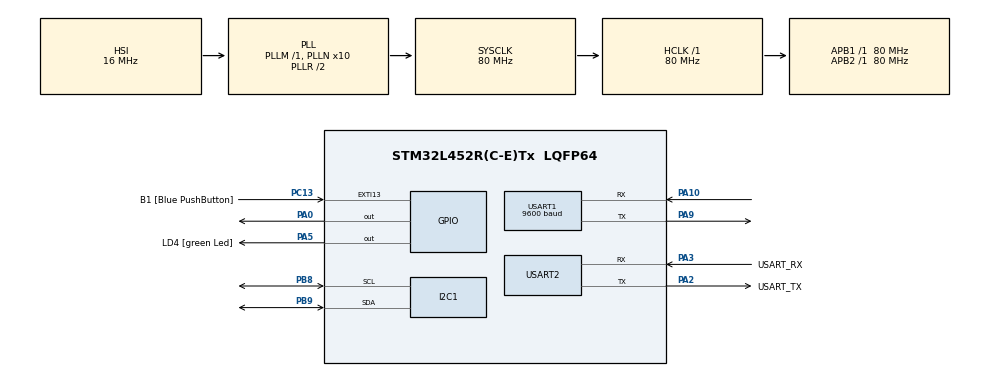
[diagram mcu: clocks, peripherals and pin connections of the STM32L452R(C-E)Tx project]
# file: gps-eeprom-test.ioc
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I2C1.Timing=0x10909CEC
Mcu.Family=STM32L4
Mcu.Name=STM32L452R(C-E)Tx
Mcu.Package=LQFP64
NVIC.PriorityGroup=NVIC_PRIORITYGROUP_4
NVIC.USART1_IRQn=true\:0\:0\:false\:false\:true\:true\:true\:true
NVIC.USART2_IRQn=true\:0\:0\:false\:false\:true\:true\:true\:true
PA0.Signal=GPIO_Output
PA10.Mode=Asynchronous
PA10.Signal=USART1_RX
PA13\ (JTMS/SWDIO).GPIO_Label=TMS
PA13\ (JTMS/SWDIO).Mode=Serial_Wire
PA13\ (JTMS/SWDIO).Signal=SYS_JTMS-SWDIO
PA14\ (JTCK/SWCLK).GPIO_Label=TCK
PA14\ (JTCK/SWCLK).Mode=Serial_Wire
PA14\ (JTCK/SWCLK).Signal=SYS_JTCK-SWCLK
PA2.GPIO_Label=USART_TX
PA2.GPIO_Mode=GPIO_MODE_AF_PP
PA2.GPIO_PuPd=GPIO_NOPULL
PA2.GPIO_Speed=GPIO_SPEED_FREQ_VERY_HIGH
PA2.Mode=Asynchronous
PA2.Signal=USART2_TX
PA3.GPIO_Label=USART_RX
PA3.GPIO_Mode=GPIO_MODE_AF_PP
PA3.GPIO_PuPd=GPIO_NOPULL
PA3.GPIO_Speed=GPIO_SPEED_FREQ_VERY_HIGH
PA3.Mode=Asynchronous
PA3.Signal=USART2_RX
PA5.GPIO_Label=LD4 [green Led]
PA5.GPIO_ModeDefaultOutputPP=GPIO_MODE_OUTPUT_PP
PA5.GPIO_PuPd=GPIO_NOPULL
PA5.GPIO_Speed=GPIO_SPEED_FREQ_LOW
PA5.Signal=GPIO_Output
PA9.Mode=Asynchronous
PA9.Signal=USART1_TX
PB3\ (JTDO/TRACESWO).GPIO_Label=SWO
PB3\ (JTDO/TRACESWO).Signal=SYS_JTDO-SWO
PB8.Mode=I2C
PB8.Signal=I2C1_SCL
PB9.Mode=I2C
PB9.Signal=I2C1_SDA
PC13.GPIO_Label=B1 [Blue PushButton]
PC13.GPIO_ModeDefaultEXTI=GPIO_MODE_IT_FALLING
PC13.GPIO_PuPd=GPIO_NOPULL
PC13.Signal=GPXTI13
PC14-OSC32_IN\ (PC14).Mode=LSE-External-Oscillator
PC14-OSC32_IN\ (PC14).Signal=RCC_OSC32_IN
PC15-OSC32_OUT\ (PC15).Mode=LSE-External-Oscillator
PC15-OSC32_OUT\ (PC15).Signal=RCC_OSC32_OUT
PH0-OSC_IN\ (PH0).Signal=RCC_OSC_IN
PH1-OSC_OUT\ (PH1).Signal=RCC_OSC_OUT
ProjectManager.HeapSize=0x200
ProjectManager.StackSize=0x400
ProjectManager.TargetToolchain=STM32CubeIDE
RCC.ADCFreq_Value=64000000
RCC.AHBFreq_Value=80000000
RCC.APB1Freq_Value=80000000
RCC.APB1TimFreq_Value=80000000
RCC.APB2Freq_Value=80000000
RCC.APB2TimFreq_Value=80000000
RCC.CortexFreq_Value=80000000
RCC.HCLKFreq_Value=80000000
RCC.HSE_VALUE=8000000
RCC.HSI48_VALUE=48000000
RCC.HSI_VALUE=16000000
RCC.MSI_VALUE=4000000
RCC.PLLN=10
RCC.PLLSourceVirtual=RCC_PLLSOURCE_HSI
RCC.PREFETCH_ENABLE=1
RCC.SYSCLKFreq_VALUE=80000000
RCC.SYSCLKSource=RCC_SYSCLKSOURCE_PLLCLK
RCC.USBFreq_Value=64000000
RCC.VCOOutputFreq_Value=160000000
USART1.BaudRate=9600
USART1.VirtualMode-Asynchronous=VM_ASYNC
USART2.VirtualMode-Asynchronous=VM_ASYNC
board=NUCLEO-L452RE

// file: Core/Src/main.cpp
/* USER CODE BEGIN Header */
/**
  ******************************************************************************
  * @file           : main.c
  * @brief          : Main program body
  ******************************************************************************
  * @attention
  *
  * Copyright (c) 2023 STMicroelectronics.
  * All rights reserved.
  *
  * This software is licensed under terms that can be found in the LICENSE file
  * in the root directory of this software component.
  * If no LICENSE file comes with this software, it is provided AS-IS.
  *
  ******************************************************************************
  * Date: Jun 22, 2023
  * Celine Kwan
  * store GPS's lat/lng to EEPROM 0x00 and 0x04 locations
  * SUCCESSFUL
  */
/* USER CODE END Header */
#include "main.h"

/* USER CODE BEGIN Includes */
#include <stdio.h>
#include <string.h>

#include <gps/NMEA.h>
#include <gps/uartRingBuffer.h>

#include <RTClib/RTClib.h>

#include <GeographicLib/DMS.hpp>

#include <libnova/ln_types.h>
#include <libnova/julian_day.h>
#include <libnova/transform.h>
#include <libnova/utility.h>

using namespace GeographicLib;
/* USER CODE END Includes */

I2C_HandleTypeDef hi2c1;

UART_HandleTypeDef huart1;
UART_HandleTypeDef huart2;

/* USER CODE BEGIN PV */

// EEPROM ******************
#define EEPROM_ADDR 0x50 << 1

// RTC ******************
#define RTC_ADDR 0x68<<1
#define DS3231_STATUSREG 0x0F ///< Status register
#define DS3231_TIME 0x00 ///< Time register

// Data Buffers *********************************
uint8_t data_rec4[4] = {0};
uint8_t data_rec8[8] = {0};
uint8_t buf_lat[4] = {0};  // floats are 4 bytes!
uint8_t buf_lng[4] = {0};

char string_to_LCD[40] = {0}; // printing to LCD

// BNO055 *********************************
#define BNO055_ADDRESS 0x28 << 1 // 0x29 (primary), 0x28 (alternative)

// Configuration Registers
// Note: switching time from op mode to any other op mode is 7ms
#define OPR_MODE 0x3D // Operating mode register
#define AMG_MODE 0x07 // Non-fusion mode
#define NDOF_MODE 0x0C // Fusion mode

// Calibration Status Register
#define CALIB_STAT 0x35
#define SYS_MASK 0xC0
#define GYR_MASK 0x30
#define ACC_MASK 0x0C
#define MAG_MASK 0x03

// Unit Selection Register
#define UNIT_SEL 0x3B
#define DATA_FORMAT_SETTING 0x01 // windows orientation, celsius,deg,dps,mg

// Accelerometer Data Registers
#define ACC_DATA_X_LSB 0x08
#define ACC_DATA_X_MSB 0x09
#define ACC_DATA_Y_LSB 0x0A
#define ACC_DATA_Y_MSB 0x0B
#define ACC_DATA_Z_LSB 0x0C
#define ACC_DATA_Z_MSB 0x0D

// Magnetometer Data Registers
#define MAG_DATA_X_LSB 0x0E
#define MAG_DATA_X_MSB 0x0F
#define MAG_DATA_Y_LSB 0x10
#define MAG_DATA_Y_MSB 0x11
#define MAG_DATA_Z_LSB 0x12
#define MAG_DATA_Z_MSB 0x13

// Gyroscope Data Registers
#define GYR_DATA_X_LSB 0x14
#define GYR_DATA_X_MSB 0x15
#define GYR_DATA_Y_LSB 0x16
#define GYR_DATA_Y_MSB 0x17
#define GYR_DATA_Z_LSB 0x18
#define GYR_DATA_Z_MSB 0x19

// Euler Data Registers
#define EUL_DATA_X_LSB 0x1A // Heading
#define EUL_DATA_X_MSB 0x1B
#define EUL_DATA_Y_LSB 0x1C // Roll
#define EUL_DATA_Y_MSB 0x1D
#define EUL_DATA_Z_LSB 0x1E // Pitch
#define EUL_DATA_Z_MSB 0x1F

// For LCD Screen******************************
// from screen_cmds.h
#define SCREEN_ADDR	0x78									// i2c address from datasheet

#define COMMAND_CLEAR_DISPLAY						0x01
#define COMMAND_RETURN_HOME							0x02
#define COMMAND_ENTRY_MODE_SET						0x04
#define ENTRY_MODE_LEFT_TO_RIGHT					0x02
#define ENTRY_MODE_SHIFT_INCREMENT					0x01
#define COMMAND_CURSORSHIFT							0x10
#define CURSORSHIFT_MOVERIGHT						0x04
#define CURSORSHIFT_MOVELEFT						0x00

#define COMMAND_ADDRESS_DDRAM						0x80
#define COMMAND_ADDRESS_CGRAM                       0x40

#define COMMAND_8BIT_4LINES_NORMAL_RE1_IS0			0x3A  //Extended command access RE = 1
#define COMMAND_8BIT_4LINES_REVERSE_RE1_IS0			0x3B  //Extended command access RE = 1
#define COMMAND_8BIT_4LINES_RE0_IS1					0x39  //Extended command access IS = 1
#define COMMAND_8BIT_4LINES_RE0_IS0					0x38  //Normal mode...

//Command from extended set (RE = 1, IS = 0)
#define COMMAND_BS1_1								0x1E
#define COMMAND_POWER_DOWN_DISABLE					0x02
#define COMMAND_SEGMENT_TOP_VIEW					0x05
#define COMMAND_SEGMENT_BOTTOM_VIEW					0x06
#define COMMAND_NW									0x09

//Command from extended set (RE = 0, IS = 1)
#define COMMAND_DISPLAY_ON_CURSOR_ON_BLINK_ON		0x0F
#define COMMAND_DISPLAY_ON_CURSOR_ON_BLINK_OFF		0x0E
#define COMMAND_DISPLAY_ON_CURSOR_OFF_BLINK_OFF		0x0C
#define COMMAND_DISPLAY_OFF_CURSOR_OFF_BLINK_OFF	0x08
#define COMMAND_BS0_1								0x1B
#define COMMAND_INTERNAL_DIVIDER					0x13
#define COMMAND_CONTRAST							0x77
#define COMMAND_POWER_ICON_CONTRAST					0x5C
#define COMMAND_FOLLOWER_CONTROL					0x6E
#define COMMAND_POWER_BOOSTER_CONTRAST				0x57		//Booster on and set contrast (DB1=C5, DB0=C4)
#define COMMAND_SET_CONTRAST_1010					0x7A		//Booster on and set contrast (DB1=C5, DB0=C4)

// Cursor Commands
#define COMMAND_SET_CURSOR_LINE_1					0x80		//Move the cursor to line 1
#define COMMAND_SET_CURSOR_LINE_2					0xA0		//Move the cursor to line 1
#define COMMAND_SET_CURSOR_LINE_3					0xC0		//Move the cursor to line 1
#define COMMAND_SET_CURSOR_LINE_4					0xE0		//Move the cursor to line 1

#define LINE_LENGTH 10 // number of chars in a line (4x10 screen)

/* USER CODE END PV */

void SystemClock_Config(void);
static void MX_GPIO_Init(void);
static void MX_USART2_UART_Init(void);
static void MX_I2C1_Init(void);
static void MX_USART1_UART_Init(void);
/* USER CODE BEGIN PFP */

// GPS *********************************
char GGA[100];
char RMC[100];
GPSSTRUCT gpsData;

// BNO *********************************
uint8_t data_rec_bno[6] = {0}; // store data from i2c read
int16_t x, y, z; // store data from accel registers
char disp_buf[45] = {0}; // store data to display to UART serial port
// calibration status: 3 [fully calibrated], 0 [not calibrated]
uint8_t sys_stat = 0; // system (all sensors)
uint8_t gyr_stat = 0;
uint8_t acc_stat = 0;
uint8_t mag_stat = 0;

// GEOGRAPHICLIB + LIBNOVA ****************************
// input into hrz-to-equ
struct lnh_equ_posn hobject, hequ;
struct lnh_lnlat_posn hobserver;
struct ln_equ_posn object, equ;
struct ln_hrz_posn hrz;
struct lnh_hrz_posn hhrz;
struct ln_lnlat_posn observer;
double JD;
struct ln_date date;

// pointers for printing
ln_date *date_ptr = &date;
ln_hrz_posn *hrz_ptr = &hrz;
ln_lnlat_posn *observer_ptr = &observer;
ln_equ_posn *equ_ptr = &equ;

// buffers for printing
char buf1[50] = {0};
char buf2[50] = {0};
char buf3[50] = {0};
char buf4[50] = {0};

// Stellarium *****************************
char * buf1_stel = {0};
char * buf2_stel = {0};
char * buf3_stel = {0};
int random_counter = 0;
int sizeof_ra = 0;
int temp;
HAL_StatusTypeDef status_stel;
HAL_StatusTypeDef status_transmit_ra;
HAL_StatusTypeDef status_transmit_dec;
int result1;
int result2;

char ra_str[10]={0};
char dec_str[11]={0};
char stel_cmds[5] = {0};

// LCD Screen
float xg, yg, zg;

// Function Declarations ==========================================

// UART Interrupts *************************
void HAL_UART_RxCpltCallback(UART_HandleTypeDef *huart);
void HAL_UART_TxCpltCallback(UART_HandleTypeDef *huart);

// EEPROM **********************************
void eeprom_write_byte (uint16_t addr, uint8_t value);
void eeprom_write_bytes (uint16_t addr, uint8_t *buf, uint8_t numberofbytes);
void eeprom_read_bytes (uint16_t addr, uint8_t numberofbytes);
void print_status (HAL_StatusTypeDef);

// RTC **********************************
void rtc_read_reg_bytes (uint8_t, uint8_t); // 1+ bytes
uint8_t rtc_read (uint8_t); // 1 byte
void rtc_write_reg (uint8_t, uint8_t); // 1 byte
bool lostPower(void);
uint8_t bin2bcd(uint8_t);

// BNO **********************************
void bno055_write_datum (uint8_t reg, uint8_t value);
void bno055_read_data (uint8_t reg, uint8_t numberofbytes);

// LCD **********************************
void screen_write_string(char string_to_write[]);

// Function Definitions ==========================================
// UART Interrupts - Stellarium ************
void HAL_UART_RxCpltCallback(UART_HandleTypeDef *huart)
{
	result1 = strcmp(stel_cmds, "#:GR#");
	result2 = strcmp(stel_cmds, "#:GD#");

	if (result1==0) {
	  HAL_UART_Transmit_IT(&huart2, (uint8_t*)ra_str, 9);
	} else if (result2==0) {
	  HAL_UART_Transmit_IT(&huart2, (uint8_t*)dec_str, 10);
	}

	for (int i=0; i<sizeof(stel_cmds); i++) {
		stel_cmds[i] = 0;
	}

	HAL_UART_Receive_IT(&huart2, (uint8_t*)stel_cmds, 5);
}

void HAL_UART_TxCpltCallback(UART_HandleTypeDef *huart)
{
   // do nothing here
}

// EEPROM **********************************
// writes one byte
void eeprom_write_byte (uint16_t addr, uint8_t value) {
	uint8_t data[1] = {0};
	data[0] = value;
	HAL_StatusTypeDef status = HAL_I2C_Mem_Write(&hi2c1, EEPROM_ADDR, addr, I2C_MEMADD_SIZE_16BIT, data, 1, 10);
}

// writes several bytes
void eeprom_write_bytes (uint16_t addr, uint8_t *buf, uint8_t numberofbytes) {
	for (int i=0; i<numberofbytes; i++) {
		eeprom_write_byte(addr,buf[i]);
		addr++;
	}
}

// reads a number of bytes
void eeprom_read_bytes (uint16_t addr, uint8_t numberofbytes) {
	HAL_StatusTypeDef status = HAL_I2C_Mem_Read (&hi2c1, EEPROM_ADDR, addr, I2C_MEMADD_SIZE_16BIT, data_rec4, numberofbytes, 100);
}

// RTC **********************************
// read function - for several bytes
void rtc_read_reg_bytes (uint8_t reg, uint8_t numberofbytes) {
	HAL_StatusTypeDef status = HAL_I2C_Mem_Read (&hi2c1, RTC_ADDR, reg, 1, data_rec8, numberofbytes, 100);
}

// read into a buffer
void rtc_read_buf (uint8_t* buf, uint8_t size) {
	HAL_StatusTypeDef status = HAL_I2C_Mem_Read(&hi2c1, RTC_ADDR, buf[0], 1, buf, size, 100);// reg = buf[0]
}

// read function - for one byte
uint8_t rtc_read_reg (uint8_t reg) {
	HAL_StatusTypeDef status = HAL_I2C_Mem_Read (&hi2c1, RTC_ADDR, reg, 1, data_rec8, 1, 100);
	return data_rec8[0];
}

// write function - for one byte
void rtc_write_reg (uint8_t reg, uint8_t value) {
	uint8_t data[2];
	data[0] = reg;
	data[1] = value;
	HAL_StatusTypeDef status = HAL_I2C_Master_Transmit (&hi2c1, RTC_ADDR, data, 2, 10);
}

// write function - for 8 bytes
void rtc_write_reg_bytes (uint8_t* buf, uint8_t size) {
	uint8_t data[size] = {0};

	// copy buffer data into i2c data buffer
	for (int i=0; i<size; i++) {
		data[i] = buf[i];
	}

	HAL_StatusTypeDef status = HAL_I2C_Master_Transmit (&hi2c1, RTC_ADDR, data, size, 100);
}

bool lostPower(void) {
  return rtc_read_reg(DS3231_STATUSREG)>>7; // check bit 7 of status register
}

/*
	@brief  Convert a binary value to BCD format for the RTC registers
	@param val Binary value
	@return BCD value
*/
uint8_t bin2bcd(uint8_t val) { // TODO: check bin2bcd - whether it works or not
	return val + 6 * (val / 10);
}

/*!
  @brief  Convert the day of the week to a representation suitable for
		  storing in the DS3231: from 1 (Monday) to 7 (Sunday).
  @param  d Day of the week as represented by the library:
		  from 0 (Sunday) to 6 (Saturday).
  @return the converted value
*/
static uint8_t dowToDS3231(uint8_t d) {
	return d == 0 ? 7 : d ;
}

/*
    @brief  Set the date and flip the Oscillator Stop Flag
    @param dt DateTime object containing the date/time to set
*/
void adjust(const DateTime &dt) { // TODO: create DateTime class
										// reference: https://github.com/adafruit/RTClib/blob/33fb0400c8241a5e604d0d9bd1c3a79b8a19cc4a/src/RTClib.cpp#LL202C1-L202C1
	uint8_t buffer[] = {DS3231_TIME, // register to write to (time register)
	                       bin2bcd(dt.second()), // write bin2bcd function
						   	   	   	   	   	   	   // reference: https://github.com/adafruit/RTClib/blob/33fb0400c8241a5e604d0d9bd1c3a79b8a19cc4a/src/RTClib.h#L340
	                       bin2bcd(dt.minute()),
	                       bin2bcd(dt.hour()),
	                       bin2bcd(dowToDS3231(dt.dayOfTheWeek())), // TODO: write dayOfTheWeek function inside DateTime class - https://github.com/adafruit/RTClib/blob/33fb0400c8241a5e604d0d9bd1c3a79b8a19cc4a/src/RTClib.cpp#L553
						   	   	   	   	   	   	   	   	   	   	   	   // TODO: dowToDS3231 function - https://github.com/adafruit/RTClib/blob/33fb0400c8241a5e604d0d9bd1c3a79b8a19cc4a/src/RTClib.h#L398
	                       bin2bcd(dt.day()),
	                       bin2bcd(dt.month()),
	                       bin2bcd(dt.year() - 2000U)};

	rtc_write_reg_bytes(buffer,sizeof(buffer)); //TODO: write rtc_write_reg_bytes function for several bytes
							// reference: https://github.com/adafruit/Adafruit_BusIO/blob/42e31a252f3cfd81aaa5668258d3dcb837524660/Adafruit_I2CDevice.cpp#L95
	uint8_t statreg = rtc_read_reg(DS3231_STATUSREG);
//	statreg &= ~0x80; // flip OSF bit
	statreg &= ~0x8; // flip OSF bit
	rtc_write_reg(DS3231_STATUSREG, statreg);
}

/*!
  @brief  Convert a binary coded decimal value to binary. RTC stores
time/date values as BCD.
  @param val BCD value
  @return Binary value
*/
static uint8_t bcd2bin(uint8_t val) { //TODO: check functionality
	return val - 6 * (val >> 4);
}

/*!
    @brief  Get the current date/time
    @return DateTime object with the current date/time
*/
DateTime now(void) {
  uint8_t buf1[1] = {0};
  uint8_t buf2[7] = {0};
  buf1[0] = 0; // first element it 0
  buf2[0] = 0; // first element it 0

  rtc_write_reg_bytes (buf1,sizeof(buf1));
  rtc_read_buf (buf2, sizeof(buf2));

  return DateTime(bcd2bin(buf2[6]) + 2000U, // uint16_t year
		  	  	  bcd2bin(buf2[5] & 0x7F), //uint8_t month
                  bcd2bin(buf2[4]), //uint8_t day
				  bcd2bin(buf2[2]), //uint8_t hour
				  bcd2bin(buf2[1]), //uint8_t min
                  bcd2bin(buf2[0] & 0x7F)); //uint8_t sec
}

// BNO ************************************
// I2C Functions ********************************
// writes 1 byte
void bno055_write_datum (uint8_t reg, uint8_t value) {
	uint8_t data[2];
	data[0] = reg;
	data[1] = value;
	HAL_I2C_Master_Transmit (&hi2c1, BNO055_ADDRESS, data, 2, 10);
}

// reads multiple bytes
void bno055_read_data (uint8_t reg, uint8_t numberofbytes) {

//	for (int i=0; i<sizeof(data_rec_bno); i++) data_rec_bno[i] = 0; // clear buffer

	HAL_StatusTypeDef status = HAL_I2C_Mem_Read (&hi2c1, BNO055_ADDRESS, reg, 1, data_rec_bno, numberofbytes, 100);

	// printing status
//	HAL_UART_Transmit(&huart2, (uint8_t*)"\r\n bno055_read_data", sizeof("\r\n bno055_read_data"), 10);
//	if (HAL_ERROR == status) {
//		HAL_UART_Transmit(&huart2, (uint8_t*)"\r\n HAL_ERROR returned", sizeof("\r\n HAL_ERROR returned"), 10);
//	} else if (HAL_BUSY == status){
//		HAL_UART_Transmit(&huart2, (uint8_t*)"\r\n HAL_BUSY returned", sizeof("\r\n HAL_BUSY returned"), 10);
//	} else if (HAL_OK == status) {
//		HAL_UART_Transmit(&huart2, (uint8_t*)"\r\n HAL_OK returned", sizeof("\r\n HAL_OK returned"), 10);
//	}
}

// Config Functions ********************************
void bno055_config (void) {
	bno055_write_datum(OPR_MODE,NDOF_MODE); // Set operating mode to NDOF
//	bno055_write_datum(UNIT_SEL, DATA_FORMAT_SETTING); // Set unit selection to windows orientation, celsius, deg, dps, mg
}

// Calibrate Function ********************************
void bno055_read_calibrate_status (void) {

	while ( (sys_stat!=3) || (gyr_stat!=3)|| (acc_stat!=3) || (mag_stat!=3) ) {
		bno055_read_data(CALIB_STAT,1);

		sys_stat = ( data_rec_bno[0] & SYS_MASK ) >> 6;
//		gyr_stat = ( data_rec_bno[0] & GYR_MASK ) >> 4;
		gyr_stat = 3;
		acc_stat = ( data_rec_bno[0] & ACC_MASK ) >> 2;
		mag_stat = ( data_rec_bno[0] & MAG_MASK ) ;

		// Display data to UART port
//		sprintf (disp_buf, "\r\n sys= %d    gyr= %d    acc= %d    mag= %d", sys_stat, gyr_stat, acc_stat, mag_stat);
//		HAL_UART_Transmit(&huart2,(uint8_t*)disp_buf,sizeof(disp_buf),10);
		sprintf (disp_buf, "sys= %d    gyr= %d    acc= %d    mag= %d", sys_stat, gyr_stat, acc_stat, mag_stat);
		screen_write_string(disp_buf);

//		HAL_Delay(500);
	}

//	HAL_UART_Transmit(&huart2,(uint8_t*)"\r\n Calibration Complete!",sizeof("\r\n Calibration Complete!"),10);

}

// Print Calibration Register Values
void bno055_print_calibrate_status (void) {
	bno055_read_data(CALIB_STAT,1);

	sys_stat = ( data_rec_bno[0] & SYS_MASK ) >> 6;
	gyr_stat = ( data_rec_bno[0] & GYR_MASK ) >> 4;
	acc_stat = ( data_rec_bno[0] & ACC_MASK ) >> 2;
	mag_stat = ( data_rec_bno[0] & MAG_MASK ) ;

	// Display data to UART port
//	sprintf (disp_buf, "\r\n sys= %d \t gyr= %d \t acc= %d \t mag= %d", sys_stat, gyr_stat, acc_stat, mag_stat);
//	HAL_UART_Transmit(&huart2,(uint8_t*)disp_buf,sizeof(disp_buf),10);

}

// Utility functions ********************************
// prints x y z axis data of specified register
void print_EUL_data (uint8_t reg) { // changed from print_RAW_data
	  // Note: Data output rate for fusion data in NDOF mode is 100Hz (i.e. every 10ms)

	  // Clear display buffer
	  for (int i=0; i<sizeof(disp_buf); i++) {
		  disp_buf[i] = 0;
	  }

	  // Get 6 bytes of data
	  bno055_read_data(reg, 6);
	  x = (data_rec_bno[1]<<8) | data_rec_bno[0];
	  y = (data_rec_bno[3]<<8) | data_rec_bno[2];
	  z = (data_rec_bno[5]<<8) | data_rec_bno[4];

	  // Convert with 16 LSB/ 1 deg
	  x = x >> 4; // Divide by 16
	  y = y >> 4;
	  z = z >> 4;

	  // Display data to UART port
	  sprintf (disp_buf, "h%d r%d p%d ", x, y, z);
	  strcpy(string_to_LCD,disp_buf);
//	  screen_write_string(disp_buf);
//	  HAL_UART_Transmit(&huart2,(uint8_t*)disp_buf,sizeof(disp_buf),10);
}

// STELLARIUM functions ********************************
// init buffer elements to all 0
void init_buf123() {
  	temp = sizeof(buf1_stel);
  	for (int i=0; i<sizeof(buf1_stel); i++) {
  		buf1_stel[i] = 0;
  		buf2_stel[i] = 0;
  		buf3_stel[i] = 0;
  	}
}

// LCD Screen functions **************************************
/*!
 * @brief Write an I2C cmd to DOGS164N LCD display,
 * including start, stop and address operations
 *
 * @param addr - Slave address of display
 * @param cmd  - "command" byte to be send
 *
 * @return none
 */
void I2Csendcmd(uint8_t addr, uint8_t cmd) {
	// start transmission -- should be done by HAL_I2C_Master_Transmit function already
	uint8_t data[2];
	data[0] = 0x00;
	data[1] = cmd; // data byte (not data, but command)

	HAL_I2C_Master_Transmit (&hi2c1, addr, data, 2, HAL_MAX_DELAY);
}

/*!
	@brief Write a byte of data to DOGS164N LCD display,
	including start, stop and address operations

	@param addr - Slave address of display
	@param data  - "data" byte to be send

	@return none
 */
void I2Csenddatum (uint8_t addr, uint8_t data) { // I2Csenddatum(SCREEN_ADDR, string_to_write[letter]);
	uint8_t datum[2];
	datum[0] = 0x40;
	datum[1] = data; // data byte (not data, but command)

	HAL_I2C_Master_Transmit (&hi2c1, addr, datum, 2, HAL_MAX_DELAY);
}

void I2Cread (uint8_t addr) {
	uint8_t data[2];
	HAL_I2C_Master_Receive(&hi2c1, addr, data, 1, 10); // TODO: might be wrong
	HAL_UART_Transmit(&huart2,data,strlen((char*)data),HAL_MAX_DELAY); // TODO: delete this after - just for debugging
}

void screen_init(void){
	I2Csendcmd(SCREEN_ADDR, COMMAND_CLEAR_DISPLAY); // 0x78, 0x01
	I2Csendcmd(SCREEN_ADDR, COMMAND_8BIT_4LINES_NORMAL_RE1_IS0); // 0x3A
	I2Csendcmd(SCREEN_ADDR, COMMAND_NW);
	I2Csendcmd(SCREEN_ADDR, COMMAND_SEGMENT_BOTTOM_VIEW);
	I2Csendcmd(SCREEN_ADDR, COMMAND_BS1_1);
	I2Csendcmd(SCREEN_ADDR, COMMAND_8BIT_4LINES_RE0_IS1);
	I2Csendcmd(SCREEN_ADDR, COMMAND_BS0_1);
	I2Csendcmd(SCREEN_ADDR, COMMAND_FOLLOWER_CONTROL);
	I2Csendcmd(SCREEN_ADDR, COMMAND_POWER_BOOSTER_CONTRAST);
	I2Csendcmd(SCREEN_ADDR, COMMAND_SET_CONTRAST_1010);
	I2Csendcmd(SCREEN_ADDR, COMMAND_8BIT_4LINES_RE0_IS0);
	I2Csendcmd(SCREEN_ADDR, COMMAND_DISPLAY_ON_CURSOR_ON_BLINK_ON);

	I2Csendcmd(SCREEN_ADDR, COMMAND_CLEAR_DISPLAY);
}

void screen_write_string(char string_to_write[]) {

	int letter=0; // index for string

	I2Csendcmd(SCREEN_ADDR, COMMAND_CLEAR_DISPLAY);
	I2Csendcmd(SCREEN_ADDR, COMMAND_SET_CURSOR_LINE_1);
	int current_line = COMMAND_SET_CURSOR_LINE_1;

	while(string_to_write[letter]!='\0') // check if end of string
	{
		if ((letter != 0) && (letter % LINE_LENGTH == 0)) // move to a next line if index is a multiple of 10
		{
			if (current_line == COMMAND_SET_CURSOR_LINE_4){ // clear screen and put cursor to line 1 when screen is filled
				current_line = COMMAND_SET_CURSOR_LINE_1;// We've gone past the end of the line, go to the next one
				I2Csendcmd(SCREEN_ADDR, COMMAND_CLEAR_DISPLAY);
			}
			else {
				current_line = current_line+0x20;
				I2Csendcmd(SCREEN_ADDR, current_line); // We've gone past the end of the line, go to the next one
			}
		}

		I2Csenddatum(SCREEN_ADDR, string_to_write[letter]);
		letter++;
	}

}

/* USER CODE END PFP */

/* USER CODE BEGIN 0 */

// EEPROM *********************************
GGASTRUCT *gga = &gpsData.ggastruct;
float lat = 0; // write to EEPROM
float lng = 0;
char lat_dir;
char lng_dir;
float lat_ret = 0; // read from EEPROM
float lng_ret = 0;

// RTC *********************************
RMCSTRUCT *rmc = &gpsData.rmcstruct;

int gps_year = 0;
int gps_month = 0;
int gps_day = 0;
int gps_hour = 0;
int gps_minutes = 0;
int gps_seconds = 0;

// Printing *********************************
char print_buf_1[30] = {0};
char print_buf_2[30] = {0};
char print_buf_3[40] = {0};
char print_buf_4[60] = {0};
char print_buf_5[40] = {0};
char print_buf_6[40] = {0};

char print_buf_gps[40] = {0};

// Printing RA/DEC in Stel format *********
char print_buf_7[30] = {0};
char print_buf_8[30] = {0};

// Lat/Lng->DMS Conversion ******************
double d_1=0, d_2 =0;
double m_1=0, m_2 =0;
double s_1=0, s_2 =0;

// GPS NMEA **********************************
const char* GG = "GG";
const char* RM = "RM";
const char* asterisk = "*";

// Libnova ******************************
unsigned short ra_hh ;
unsigned short ra_mm ;
double ra_ss ;

// DD MM SS for DEC
unsigned short dec_neg ;
unsigned short dec_dd ;
unsigned short dec_mm ;
double dec_ss ;

/* USER CODE END 0 */

int main(void)
{

  /* MCU Configuration--------------------------------------------------------*/

  /* Reset of all bno055_read_calibrate_statusperipherals, Initializes the Flash interface and the Systick. */
  HAL_Init();

  /* Configure the system clock */
  SystemClock_Config();

  /* Initialize all configured peripherals */
  MX_GPIO_Init();
  MX_USART2_UART_Init();
  MX_I2C1_Init();
  MX_USART1_UART_Init();
  /* USER CODE BEGIN 2 */

   Ringbuf_init();

	uint16_t year = 0;
	uint8_t month = 0;
	uint8_t day = 0;
	uint8_t hour = 0;
	uint8_t min = 0;
	uint8_t sec = 0;

	//	  ========== LCD Screen Initialization ==================================
	// turn off display, turn on display (translated from PORTD section of Stewart's code)
//	HAL_Delay(5);
	HAL_GPIO_WritePin(GPIOA, GPIO_PIN_0,GPIO_PIN_RESET);
//	HAL_Delay(200);
	HAL_GPIO_WritePin(GPIOA, GPIO_PIN_0,GPIO_PIN_SET);
//	HAL_Delay(5);

	//1. clear screen
	screen_init();

	// BNO config *********************************
	bno055_config();
	bno055_read_calibrate_status();

	// Get lat/lng and date/time value from GPS
	while ( (lat == 0 && lng == 0 ) || (gps_year == 0) ) { // Condition: lat/lng are not updated OR year not extracted

		//	 ========== GPS Ring Buffer ==================================
		if (Wait_for(GG) == 1) { // "GPGGA" - need "A" for decodeGGA to work properly
			Copy_upto(asterisk, GGA); // 1=successful copy
			decodeGGA(GGA,&gpsData.ggastruct); // 0=fixed; 1=error
		}

		if (Wait_for(RM) == 1) { // "GPRMC" - need "C" for decodeRMC to work properly
		  Copy_upto(asterisk, RMC); // 1=successful copy
		  decodeRMC(RMC,&gpsData.rmcstruct); // 0=fixed; 1=error
		}

		//	  ========== Extract lng/lat Data ==================================
//		lat = gga->lcation.latitude;
//		lng = gga->lcation.longitude;

		// Modify +/- sign of lat/lng
		lat_dir = gga->lcation.NS;
		lng_dir = gga->lcation.EW;
		if (lat_dir == 'S') lat *= -1;
		if (lng_dir == 'W') lng *= -1;

		//	  ========== Extract date & time ==================================
		gps_year = rmc->date.Yr; /*!< Years. All values are valid */
		gps_month = rmc->date.Mon; /*!< Months. Valid values : 1 (January) - 12 (December) */
		gps_day = rmc->date.Day; /*!< Days. Valid values 1 - 28,29,30,31 Depends on month.*/
		gps_hour = gga->tim.hour; /*!< Hours. Valid values 0 - 23. */
		gps_minutes = gga->tim.min; /*!< Minutes. Valid values 0 - 59. */
		gps_seconds = gga->tim.sec; /*!< Seconds. Valid values 0 - 59.99999.... */

	}

//	sprintf(print_buf_gps,"\r\n\n lat/lng: %.4f/%.4f\n mm/dd/yy: %d/%d/%d\n hh/mm/ss: %d/%d/%d",
//		lat,lng,gps_year,gps_month,gps_day,gps_hour,gps_minutes,gps_seconds);
//    HAL_UART_Transmit(&huart2, (uint8_t*)print_buf, sizeof(print_buf),10);
	sprintf(print_buf_gps,"%.4f/%.4f %d/%d/%d %d/%d/%d",
		lat,lng,gps_year,gps_month,gps_day,gps_hour,gps_minutes,gps_seconds);
	screen_write_string(print_buf_gps);

//	USART1->CR1 &= ~USART_CR1_RXNEIE;

	//	  ========== BENCH TEST HARDCODED GPS DATA ==================================
//	// Bahen Building
	lat = 43.659819;
	lng = -79.399903;
//
//	// Modify +/- sign of lat/lng
//	lat_dir = 'N';
//	lng_dir = 'W';
//	if (lat_dir == 'S') lat *= -1;
//	if (lng_dir == 'W') lng *= -1;
//
//	gps_year = 23;
//	gps_month = 7;
//	gps_day = 7;
//	gps_hour = 23;
//	gps_minutes = 48;
//	gps_seconds = 18;
	//	  ============================================

//  	HAL_UART_Transmit(&huart2, (uint8_t*)"\r\n Lat/lng & date/time extraction done", sizeof("\r\n Lat/lng & date/time extraction done"), 10);

  	//	  ========== RTC Setup: Store time into RTC ==================================
	// initialization of Datetime
	year = 2000 + gps_year;
	month = gps_month;
	day = gps_day;
	hour = gps_hour;
	min = gps_minutes;
	sec = gps_seconds;

	DateTime dt (year,month,day,hour,min,sec);

//	HAL_UART_Transmit(&huart2, (uint8_t*)"\r\n Date/time initialization done", sizeof("\r\n Date/time initialization done"), 10);

	// check if there's a power loss
//	if (lostPower()) {
////	  HAL_UART_Transmit(&huart2, (uint8_t*)"\r\n RTC lost power, let's set the time!", sizeof("\r\n RTC lost power, let's set the time!"), 10);
//
//	  // When time needs to be set on a new device, or after a power loss, the
//	  // following line sets the RTC to the date & time this sketch was compiled
//	  adjust(dt); // Sets the RTC with an explicit date & time
//
//	}
////	else {
////	  HAL_UART_Transmit(&huart2, (uint8_t*)"\r\n RTC has power", sizeof("\r\n RTC has power"), 10);
////	}

	adjust(dt);

//	HAL_UART_Transmit(&huart2, (uint8_t*)"\r\n RTC Setup Done", sizeof("\r\n RTC Setup Done"), 10);

	//	  ========== EEPROM Write ==================================
	memcpy(buf_lat, (void *)&lat, 4);
	eeprom_write_bytes(0x00,buf_lat,4);
	memcpy(buf_lng, (void *)&lng, 4);
	eeprom_write_bytes(0x04,buf_lng,4);

//	HAL_UART_Transmit(&huart2, (uint8_t*)"\r\n EEPROM Write Done", sizeof("\r\n EEPROM Write Done"), 10);

	//	  ========== STELLARIUM stuff ==================================
	// initialize buffers
	buf1_stel = (char*)malloc(128);
	buf2_stel = (char*)malloc(128);
	buf3_stel = (char*)malloc(128);

//	char *pound = "#";
//	char *pos = "+";
//	char *neg = "-";

	init_buf123();

	// Initialize RA/DEC strings with random coordinate
	strcpy(ra_str,"18:36:58#");
	strcpy(dec_str,"+38'47:12#");
	// Start Receiving commands from Stellarium
	HAL_UART_Receive_IT (&huart2, (uint8_t*)stel_cmds, 5);

  /* USER CODE END 2 */

  /* Infinite loop */
  while (1)
  {

    /* USER CODE BEGIN 3 */

	//	  ========== Get current time from RTC ==================================
	DateTime current = now();

	year = current.year();
	month = current.month();
	day = current.day();
	hour = current.hour();
	min = current.minute();
	sec = current.second();

	//	  ========== Print current time ==================================
	char buffer[100] = {0};
//	sprintf(buffer, "\r\n year: %u \r\n month: %d \r\n day: %d \r\n hour: %d \r\n min: %d \r\n sec: %d\r\n", year,month,day,hour,min,sec); // Convert the integer to a string
//	HAL_UART_Transmit(&huart2, (uint8_t *)buffer, sizeof(buffer), 10); // Transmit the string via UART
	sprintf(buffer, "%u/%d/%d  %d/%d/%d  ", year,month,day,hour,min,sec);
//	strcpy(string_to_LCD,buffer);

	//	  ========== Read Lat/Lng from EEPROM ==================================
	// Read lat/lng
	eeprom_read_bytes (0x00, 4); // read
	memcpy((void *)&lat_ret, data_rec4, 4);

	eeprom_read_bytes (0x04, 4); // read
	memcpy((void *)&lng_ret, data_rec4, 4);

//	HAL_UART_Transmit(&huart2, (uint8_t*)"\r\n EEPROM Read Done", sizeof("\r\n EEPROM Read Done"), 10);

	//	  ========== Print Lat/Lng (float) ==================================
//	sprintf(print_buf_1,"\r\n lat: % 4f", lat_ret);
//	HAL_UART_Transmit(&huart2, (uint8_t*)print_buf_1, sizeof(print_buf_1), 10);
//	sprintf(print_buf_2,"\r\n lng: % 4f", lng_ret);
//	HAL_UART_Transmit(&huart2, (uint8_t*)print_buf_2, sizeof(print_buf_2), 10);

	//	  ========== Print Euler Roll/Pitch/Yaw angles ==================================
//	HAL_UART_Transmit(&huart2,(uint8_t*)"\r\n Eul:********",sizeof("\r\n Eul:********"),10);
	print_EUL_data(EUL_DATA_X_LSB);

	// GEOGRAPHIC LIB + LIBNOVA STUFF ********************************************************************
	//	  ========== Conversion ==================================
	// use lat_ret and lng_ret
//	DMS::Encode(lat_ret,d_1,m_1,s_1); // latitude
//	DMS::Encode(lng_ret,d_2,m_2,s_2); // longitude
	DMS::Encode(lat,d_1,m_1,s_1); // latitude
	DMS::Encode(lng,d_2,m_2,s_2); // longitude

	// Print DMS
//	for (int i=0; i<sizeof(print_buf_1); i++) print_buf_1[i] = 0; // clear buffer
//	sprintf(print_buf_1,"\r\n DMS %.2f/%.2f/%.2f", d_1, m_1, s_1);
//	HAL_UART_Transmit(&huart2,(uint8_t*)print_buf_1, sizeof(print_buf_1), 10);
//	for (int i=0; i<sizeof(print_buf_2); i++) print_buf_2[i] = 0; // clear buffer
//	sprintf(print_buf_2,"\r\n DMS %.2f/%.2f/%.2f", d_2, m_2, s_2);
//	HAL_UART_Transmit(&huart2,(uint8_t*)print_buf_2, sizeof(print_buf_2), 10);

	// deal with negative direction
	int neg_lat = 0;
	int neg_lng = 0;

	if (lat_dir == 'S') {
		neg_lat = 1;

		// clear the negative sign from DMS
		d_1 *= -1;
		m_1 *= -1;
		s_1 *= -1;
	}

	if (lng_dir == 'W') {
		neg_lng = 1;

		// clear the negative sign from DMS
		d_2 *= -1;
		m_2 *= -1;
		s_2 *= -1;
	}

//	// Print DMS again
//	for (int i=0; i<sizeof(print_buf_1); i++) print_buf_1[i] = 0; // clear buffer
//	sprintf(print_buf_1,"\r\n DMS %.2f/%.2f/%.2f", d_1, m_1, s_1);
//	HAL_UART_Transmit(&huart2,(uint8_t*)print_buf_1, sizeof(print_buf_1), 10);
//	for (int i=0; i<sizeof(print_buf_2); i++) print_buf_2[i] = 0; // clear buffer
//	sprintf(print_buf_2,"\r\n DMS %.2f/%.2f/%.2f", d_2, m_2, s_2);
//	HAL_UART_Transmit(&huart2,(uint8_t*)print_buf_2, sizeof(print_buf_2), 10);

//	// clear buffers
//	for (int i=0; i<sizeof(print_buf_1); i++) print_buf_1[i] = 0;
//	for (int i=0; i<sizeof(print_buf_2); i++) print_buf_2[i] = 0;

	// conversion ***********************
	/*
	 * Bahen
	 * lat: 43.659822
	 * lng: -79.397056
	 * DMS lat: 43° 39' 35.3592'' N
	 * DMS lng: 79° 23' 49.4016'' W
	 */
	hobserver.lng.neg = (short) neg_lng; //1
	hobserver.lng.degrees = (short) d_2; //79
	hobserver.lng.minutes = (short) m_2; //14
	hobserver.lng.seconds = s_2; //16
	hobserver.lat.neg = (short) neg_lat; //0
	hobserver.lat.degrees = (short) d_1; //43
	hobserver.lat.minutes = (short) m_1; //23
	hobserver.lat.seconds = s_1; //44

	// BENCH TEST: Stellarium location:  N 43 39 49.68, W 79 23 59.65
//	hobserver.lng.neg = 1; //1
//	hobserver.lng.degrees = 79; //79
//	hobserver.lng.minutes = 23; //14
//	hobserver.lng.seconds = 59.65; //16
//	hobserver.lat.neg = 0; //0
//	hobserver.lat.degrees = 43; //43
//	hobserver.lat.minutes = 39; //23
//	hobserver.lat.seconds = 49.68; //44

	/* Antares
	 * RA: 16h 29m 25.64s
	 * DEC: -26 25 59.2
	 */
	hobject.ra.hours = 16;
	hobject.ra.minutes = 29;
	hobject.ra.seconds = 26;
	hobject.dec.neg = 1;
	hobject.dec.degrees = 26;
	hobject.dec.minutes = 25;
	hobject.dec.seconds = 59;

	/* UT date and time */
	date.years = year;
	date.months = month;
	date.days = day;
	date.hours = hour;
	date.minutes = min;
	date.seconds = sec;

//	// Print hobserver
//	sprintf(print_buf_1,"\r\n hob %u/%u/%u/%.1f", hobserver.lng.neg, hobserver.lng.degrees, hobserver.lng.minutes, hobserver.lng.seconds);
//	HAL_UART_Transmit(&huart2,(uint8_t*)print_buf_1, sizeof(print_buf_1), 10);
//	sprintf(print_buf_2,"\r\n ho2 %u/%u/%u/%.1f", hobserver.lat.neg, hobserver.lat.degrees, hobserver.lat.minutes, hobserver.lat.seconds);
//	HAL_UART_Transmit(&huart2,(uint8_t*)print_buf_2, sizeof(print_buf_2), 10);

	// Conversion *********************
	JD = ln_get_julian_day (&date); //v
//	JD = 2460135.65855;
	ln_hequ_to_equ (&hobject, &object); // x
	ln_hlnlat_to_lnlat (&hobserver, &observer); //v
	ln_get_hrz_from_equ (&object, &observer, JD, &hrz);// x
//	ln_hrz_to_hhrz(&hrz, &hhrz);

//	// Print hrz
//	for (int i=0; i<sizeof(print_buf_1); i++) print_buf_1[i] = 0;
//	for (int i=0; i<sizeof(print_buf_2); i++) print_buf_2[i] = 0;
//	sprintf(print_buf_1,"\r\n before:hrz %.2f/%.2f", hrz.alt, hrz.az);
//	HAL_UART_Transmit(&huart2,(uint8_t*)print_buf_1, sizeof(print_buf_1), 10);

	// Include roll/pitch/yaw Euler angles in alt/az *********
	if (x < 180) {
		hrz.az = x + 180; // heading
	} else {
		hrz.az = x - 180;
	}

	// fix alt by looking at limiting values
	if ( (z*-1) > 90) {
		z = 180 - (z * -1);
		hrz.alt = z;
	} else if ((z*-1)<-90) {
		z = ( z * -1 + 180 ) * -1;
		hrz.alt = z;
	} else {
		hrz.alt = -1 * z; // pitch
	}

	// Bench test hardcoded values
//	observer.lat = lat;
//	observer.lng = lng;

//	// Print hrz
//	for (int i=0; i<sizeof(print_buf_1); i++) print_buf_1[i] = 0;
//	for (int i=0; i<sizeof(print_buf_2); i++) print_buf_2[i] = 0;
//	for (int i=0; i<sizeof(print_buf_3); i++) print_buf_3[i] = 0;
//	for (int i=0; i<sizeof(print_buf_4); i++) print_buf_4[i] = 0;
//	sprintf(print_buf_1,"\r\n object: %.2f/%.2f", object.ra, object.dec);
//	sprintf(print_buf_2,"\r\n observer: %.2f/%.2f", observer.lat, observer.lng);
//	sprintf(print_buf_3,"\r\n JD: %.4f", JD);
//	sprintf(print_buf_4,"\r\n hrz: %.2f/%.2f", hrz.alt, hrz.az);
//	HAL_UART_Transmit(&huart2,(uint8_t*)print_buf_1, sizeof(print_buf_1), 10);
//	HAL_UART_Transmit(&huart2,(uint8_t*)print_buf_2, sizeof(print_buf_2), 10);
//	HAL_UART_Transmit(&huart2,(uint8_t*)print_buf_3, sizeof(print_buf_3), 10);
//	HAL_UART_Transmit(&huart2,(uint8_t*)print_buf_4, sizeof(print_buf_4), 10);

	ln_get_equ_from_hrz (&hrz, &observer, JD, &equ);

	sprintf(print_buf_4,"%.1f %.1f  ", object.ra, object.dec);
	strcat(string_to_LCD,print_buf_4);
	sprintf(print_buf_6,"%.1f %.1f", object.ra, object.dec);
	strcat(string_to_LCD,print_buf_6);
//	screen_write_string(string_to_LCD);

	//	  ========== Clear all print buffers ==================================
	// clear data buffer
	for (unsigned int i=0; i<sizeof(print_buf_3); i++) {
		print_buf_3[i] = 0;
	}
	for (unsigned int i=0; i<sizeof(print_buf_4); i++) {
		print_buf_4[i] = 0;
	}
	for (unsigned int i=0; i<sizeof(print_buf_5); i++) {
		print_buf_5[i] = 0;
	}
	for (unsigned int i=0; i<sizeof(print_buf_6); i++) {
		print_buf_6[i] = 0;
	}

	//	  ========== Check IMU calibration status ==================================
//	bno055_print_calibrate_status();

	// ************** Stellarium Interface Code *******************************************
	// Convert Deg to HMS/DMS RA/DEC
	ln_equ_to_hequ(&equ, &hequ);

	// HH MM SS for RA
	ra_hh = hequ.ra.hours;
	ra_mm = hequ.ra.minutes;
	ra_ss = hequ.ra.seconds;

	// DD MM SS for DEC
	dec_neg = hequ.dec.neg;
	dec_dd = hequ.dec.degrees;
	dec_mm = hequ.dec.minutes;
	dec_ss = hequ.dec.seconds;

	// concatenate to the full RA string
	snprintf(buf1_stel, 128, "%u", ra_hh);
	snprintf(buf2_stel, 128, "%u", ra_mm);
	//	snprintf(buf3_stel, 128, "% .4f", ra_ss);
	snprintf(buf3_stel, 128, "%u", (short)ra_ss);

	// clear ra_str and dec_str buffers
	for (int i=0; i<sizeof(ra_str); i++) {
		ra_str[i] = 0;
	}
	for (int i=0; i<sizeof(dec_str); i++) {
		dec_str[i] = 0;
	}

	if (ra_hh < 10) { // pad 0
		strcpy(ra_str,"0");
		strcat(ra_str,buf1_stel);
	} else { // no pad 0
		strcpy(ra_str,buf1_stel);
	}
	strcat(ra_str,":");
	if (ra_mm < 10) { strcat(ra_str,"0");}
	strcat(ra_str,buf2_stel);
	strcat(ra_str,":");
	if (ra_ss < 10) { strcat(ra_str,"0");}
	strcat(ra_str,buf3_stel);
	strcat(ra_str,"#");

	// clear buffers
	init_buf123();

	// concatenate to the full DEC string
	snprintf(buf1_stel, 128, "%u", dec_dd);
	snprintf(buf2_stel, 128, "%u", dec_mm);
	snprintf(buf3_stel, 128, "%u", (short)dec_ss);

	if (dec_neg == 0) {
		strcpy(dec_str,"+");
	} else {
		strcpy(dec_str,"-");
	}
	if (dec_dd < 10) { strcat(dec_str,"0");}
	strcat(dec_str,buf1_stel);
	strcat(dec_str,"\'");
	if (dec_mm < 10) { strcat(dec_str,"0");}
	strcat(dec_str,buf2_stel);
	strcat(dec_str,":");
	if (dec_ss < 10) { strcat(dec_str,"0");}
	strcat(dec_str,buf3_stel);
	strcat(dec_str,"#");

//	// check ra_str and dec_str -- without stellarium
//	HAL_UART_Transmit(&huart2, (uint8_t*)"\r\n\n Stellarium strings:\n", sizeof("\r\n\n Stellarium strings:\n"), 10);
//	HAL_UART_Transmit(&huart2, (uint8_t*)ra_str, sizeof(ra_str), 10);
//	HAL_UART_Transmit(&huart2, (uint8_t*)"\t\t", sizeof("\t\t"), 10);
//	HAL_UART_Transmit(&huart2, (uint8_t*)dec_str, sizeof(dec_str), 10);

	//	  ========== Wait 1s for the time to increment per second ==================================
//	HAL_Delay(1000);

	//	  ========== Print info to LCD screen ==================================
	screen_write_string(string_to_LCD);

//	int counter = 0; // breakpoint
//	counter++;
  }

  /* USER CODE END 3 */
}

void SystemClock_Config(void)
{
  RCC_OscInitTypeDef RCC_OscInitStruct = {0};
  RCC_ClkInitTypeDef RCC_ClkInitStruct = {0};

  /** Configure the main internal regulator output voltage
  */
  if (HAL_PWREx_ControlVoltageScaling(PWR_REGULATOR_VOLTAGE_SCALE1) != HAL_OK)
  {
    Error_Handler();
  }

  /** Initializes the RCC Oscillators according to the specified parameters
  * in the RCC_OscInitTypeDef structure.
  */
  RCC_OscInitStruct.OscillatorType = RCC_OSCILLATORTYPE_HSI;
  RCC_OscInitStruct.HSIState = RCC_HSI_ON;
  RCC_OscInitStruct.HSICalibrationValue = RCC_HSICALIBRATION_DEFAULT;
  RCC_OscInitStruct.PLL.PLLState = RCC_PLL_ON;
  RCC_OscInitStruct.PLL.PLLSource = RCC_PLLSOURCE_HSI;
  RCC_OscInitStruct.PLL.PLLM = 1;
  RCC_OscInitStruct.PLL.PLLN = 10;
  RCC_OscInitStruct.PLL.PLLP = RCC_PLLP_DIV7;
  RCC_OscInitStruct.PLL.PLLQ = RCC_PLLQ_DIV2;
  RCC_OscInitStruct.PLL.PLLR = RCC_PLLR_DIV2;
  if (HAL_RCC_OscConfig(&RCC_OscInitStruct) != HAL_OK)
  {
    Error_Handler();
  }

  /** Initializes the CPU, AHB and APB buses clocks
  */
  RCC_ClkInitStruct.ClockType = RCC_CLOCKTYPE_HCLK|RCC_CLOCKTYPE_SYSCLK
                              |RCC_CLOCKTYPE_PCLK1|RCC_CLOCKTYPE_PCLK2;
  RCC_ClkInitStruct.SYSCLKSource = RCC_SYSCLKSOURCE_PLLCLK;
  RCC_ClkInitStruct.AHBCLKDivider = RCC_SYSCLK_DIV1;
  RCC_ClkInitStruct.APB1CLKDivider = RCC_HCLK_DIV1;
  RCC_ClkInitStruct.APB2CLKDivider = RCC_HCLK_DIV1;

  if (HAL_RCC_ClockConfig(&RCC_ClkInitStruct, FLASH_LATENCY_4) != HAL_OK)
  {
    Error_Handler();
  }
}

static void MX_I2C1_Init(void)
{

  hi2c1.Instance = I2C1;
  hi2c1.Init.Timing = 0x10909CEC;
  hi2c1.Init.OwnAddress1 = 0;
  hi2c1.Init.AddressingMode = I2C_ADDRESSINGMODE_7BIT;
  hi2c1.Init.DualAddressMode = I2C_DUALADDRESS_DISABLE;
  hi2c1.Init.OwnAddress2 = 0;
  hi2c1.Init.OwnAddress2Masks = I2C_OA2_NOMASK;
  hi2c1.Init.GeneralCallMode = I2C_GENERALCALL_DISABLE;
  hi2c1.Init.NoStretchMode = I2C_NOSTRETCH_DISABLE;
  if (HAL_I2C_Init(&hi2c1) != HAL_OK)
  {
    Error_Handler();
  }

  /** Configure Analogue filter
  */
  if (HAL_I2CEx_ConfigAnalogFilter(&hi2c1, I2C_ANALOGFILTER_ENABLE) != HAL_OK)
  {
    Error_Handler();
  }

  /** Configure Digital filter
  */
  if (HAL_I2CEx_ConfigDigitalFilter(&hi2c1, 0) != HAL_OK)
  {
    Error_Handler();
  }

}

static void MX_USART1_UART_Init(void)
{

  huart1.Instance = USART1;
  huart1.Init.BaudRate = 9600;
  huart1.Init.WordLength = UART_WORDLENGTH_8B;
  huart1.Init.StopBits = UART_STOPBITS_1;
  huart1.Init.Parity = UART_PARITY_NONE;
  huart1.Init.Mode = UART_MODE_TX_RX;
  huart1.Init.HwFlowCtl = UART_HWCONTROL_NONE;
  huart1.Init.OverSampling = UART_OVERSAMPLING_16;
  huart1.Init.OneBitSampling = UART_ONE_BIT_SAMPLE_DISABLE;
  huart1.AdvancedInit.AdvFeatureInit = UART_ADVFEATURE_NO_INIT;
  if (HAL_UART_Init(&huart1) != HAL_OK)
  {
    Error_Handler();
  }

}

static void MX_USART2_UART_Init(void)
{

  huart2.Instance = USART2;
  huart2.Init.BaudRate = 115200;
  huart2.Init.WordLength = UART_WORDLENGTH_8B;
  huart2.Init.StopBits = UART_STOPBITS_1;
  huart2.Init.Parity = UART_PARITY_NONE;
  huart2.Init.Mode = UART_MODE_TX_RX;
  huart2.Init.HwFlowCtl = UART_HWCONTROL_NONE;
  huart2.Init.OverSampling = UART_OVERSAMPLING_16;
  huart2.Init.OneBitSampling = UART_ONE_BIT_SAMPLE_DISABLE;
  huart2.AdvancedInit.AdvFeatureInit = UART_ADVFEATURE_NO_INIT;
  if (HAL_UART_Init(&huart2) != HAL_OK)
  {
    Error_Handler();
  }

}

static void MX_GPIO_Init(void)
{
  GPIO_InitTypeDef GPIO_InitStruct = {0};

  /* GPIO Ports Clock Enable */
  __HAL_RCC_GPIOC_CLK_ENABLE();
  __HAL_RCC_GPIOH_CLK_ENABLE();
  __HAL_RCC_GPIOA_CLK_ENABLE();
  __HAL_RCC_GPIOB_CLK_ENABLE();

  /*Configure GPIO pin Output Level */
//  HAL_GPIO_WritePin(LD4_GPIO_Port, LD4_Pin, GPIO_PIN_RESET);
  HAL_GPIO_WritePin(GPIOA, GPIO_PIN_0|LD4_Pin, GPIO_PIN_RESET);

  /*Configure GPIO pin : B1_Pin */
  GPIO_InitStruct.Pin = B1_Pin;
  GPIO_InitStruct.Mode = GPIO_MODE_IT_FALLING;
  GPIO_InitStruct.Pull = GPIO_NOPULL;
  HAL_GPIO_Init(B1_GPIO_Port, &GPIO_InitStruct);

//  /*Configure GPIO pin : LD4_Pin */
//  GPIO_InitStruct.Pin = LD4_Pin;
//  GPIO_InitStruct.Mode = GPIO_MODE_OUTPUT_PP;
//  GPIO_InitStruct.Pull = GPIO_NOPULL;
//  GPIO_InitStruct.Speed = GPIO_SPEED_FREQ_LOW;
//  HAL_GPIO_Init(LD4_GPIO_Port, &GPIO_InitStruct);

  /*Configure GPIO pins : PA0 LD4_Pin */
    GPIO_InitStruct.Pin = GPIO_PIN_0|LD4_Pin;
    GPIO_InitStruct.Mode = GPIO_MODE_OUTPUT_PP;
    GPIO_InitStruct.Pull = GPIO_NOPULL;
    GPIO_InitStruct.Speed = GPIO_SPEED_FREQ_LOW;
    HAL_GPIO_Init(GPIOA, &GPIO_InitStruct);

}

void Error_Handler(void)
{
  __disable_irq();
  while (1)
  {
  }
}
